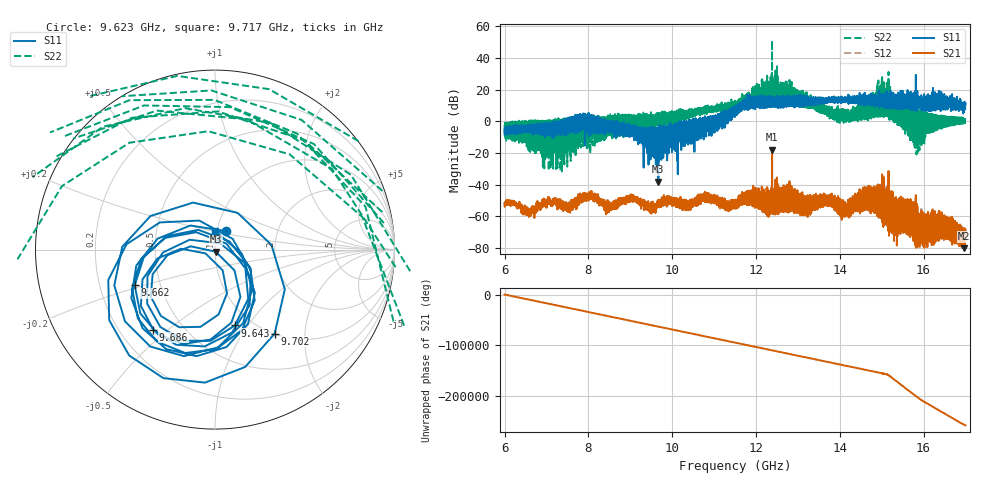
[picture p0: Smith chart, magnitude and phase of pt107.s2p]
#  HZ  S  RI  R  50.00
! Rohde & Schwarz Vector Network Analyzer
! Rohde-Schwarz,ZNA67-2Port,1332450062101215,3.01
! Created: UTC 10/19/2026, 2:30:38 PM
! freq[Hz]  re:S11  im:S11  re:S21  im:S21  re:S12  im:S12  re:S22  im:S22
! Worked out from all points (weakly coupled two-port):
!   11001 points, 6 GHz to 17 GHz, reference 50 ohm
!   highest |S21| = -17.79 dB at 12.38 GHz (marker M1); lowest = -80.2 dB at 16.95 GHz (marker M2)
!   lowest |S11| = -38.1 dB at 9.67 GHz (marker M3), VSWR 1.03, Z = 50.4 - j1.18 ohm
!   |S11| at or under -10 dB: 9.212633 GHz to 9.216197 GHz (3.564 MHz wide, 0.0387 % of centre); 9.60881 GHz to 9.613017 GHz (4.207 MHz wide, 0.0438 % of centre); 9.667836 GHz to 9.672507 GHz (4.671 MHz wide, 0.0483 % of centre) (the widest 3 of 119)
!   |S22| runs from -32.2 to 51.1 dB; largest |S21 - S12| = 0.0028
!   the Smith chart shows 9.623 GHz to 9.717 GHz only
!   S11 on the Smith chart (normalised r, x): 9.623 GHz: 1.11, +0.23; 9.643 GHz: 0.83, -0.87; 9.662 GHz: 0.36, -0.19; 9.686 GHz: 0.34, -0.44; 9.702 GHz: 1.01, -1.41; 9.717 GHz: 0.97, +0.21
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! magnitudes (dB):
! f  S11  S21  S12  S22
! 6 GHz  -5.0  -51.5  -51.6  -2.2
! 6.586 GHz  -6.6  -56.2  -56.2  -19.1
! 7.834 GHz  -4.8  -51.3  -51.1  -11.5
! 8.435 GHz  0.6  -52.5  -51.9  2.8
! 9.013 GHz  -8.9  -50.6  -50.5  -5.2
! 9.623 GHz  -18.4  -53.1  -52.9  3.5
! 9.643 GHz  -7.2  -52.4  -52.4  -1.0
! 9.662 GHz  -6.2  -51.0  -50.9  3.5
! 9.667 GHz  -7.6  -51.8  -51.9  -2.3
! 9.67 GHz  -38.1  -52.1  -52.1  2.1
! 9.686 GHz  -5.0  -51.9  -51.9  2.0
! 9.702 GHz  -4.8  -54.2  -54.3  0.8
! 9.717 GHz  -19.5  -52.5  -52.5  4.1
! 11.5 GHz  4.2  -53.8  -53.9  9.1
! 12.38 GHz  9.9  -17.8  -17.6  51.1
! 13.33 GHz  11.5  -55.1  -54.8  10.1
! 13.99 GHz  12.6  -55.8  -55.6  2.4
! 14.68 GHz  11.6  -56.2  -56.2  3.3
! 15.17 GHz  10.7  -62.1  -61.9  3.7
! 15.82 GHz  29.4  -46.6  -46.4  3.1
! 16.95 GHz  6.8  -80.2  -80.4  -1.1
! 17 GHz  11.1  -72.0  -71.8  1.4
